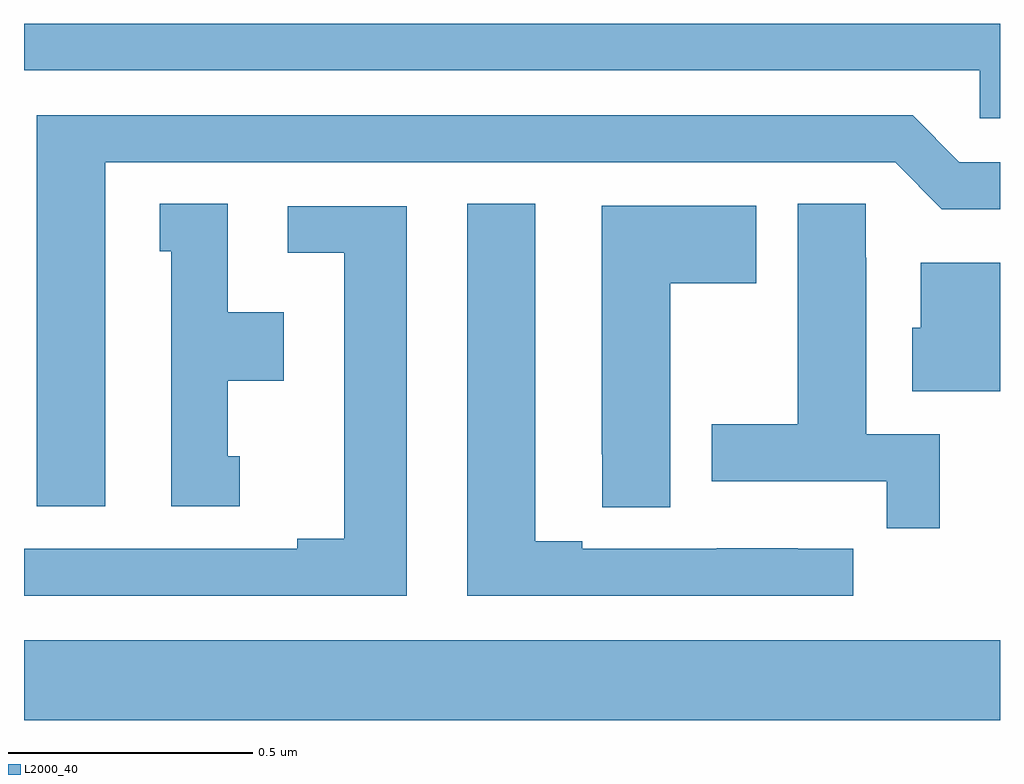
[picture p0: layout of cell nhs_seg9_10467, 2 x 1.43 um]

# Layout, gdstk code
import gdstk
lib = gdstk.Library(unit=1e-6, precision=1e-09)
def R(c, l, rs):  # rectangles x0, y0, x1, y1
    for r in rs: c.add(gdstk.rectangle(r[:2], r[2:], *l))
def P(c, l, *ps):  # polygons
    for p in ps: c.add(gdstk.Polygon(p, *l))
L2000_40 = (2000, 40)

nhs_seg9_10467 = lib.new_cell('nhs_seg9_10467')
R(nhs_seg9_10467, L2000_40, [(243,1211.072,245,1211.236)])
P(nhs_seg9_10467, L2000_40, [(245,1212.5),(243,1212.5),(243,1212.404),(244.959,1212.404),(244.959,1212.306),(245,1212.306)],
  [(243.166,1212.216),(244.785,1212.216),(244.881,1212.12),(245,1212.12),(245,1212.216),(244.917,1212.216),(244.821,1212.312),(243.026,1212.312),(243.026,1211.511),(243.166,1211.511)],
  [(244.699,1211.424),(244.586,1211.424),(244.586,1211.425),(244.42,1211.425),(244.42,1211.424),(244.144,1211.424),(244.144,1211.439),(244.048,1211.439),(244.048,1212.131),(243.908,1212.131),(243.908,1211.328),(244.699,1211.328)],
  [(243.442,1211.613),(243.418,1211.613),(243.418,1211.768),(243.532,1211.768),(243.532,1211.908),(243.418,1211.908),(243.418,1212.131),(243.278,1212.131),(243.278,1212.033),(243.302,1212.033),(243.302,1211.511),(243.442,1211.511)],
  [(244.877,1211.658),(244.726,1211.658),(244.726,1212.02),(244.725,1212.02),(244.725,1212.131),(244.586,1212.131),(244.586,1211.679),(244.409,1211.679),(244.409,1211.562),(244.768,1211.562),(244.768,1211.466),(244.877,1211.466)],
  [(244.324,1211.968),(244.501,1211.968),(244.501,1212.127),(244.184,1212.127),(244.184,1211.617),(244.185,1211.617),(244.185,1211.509),(244.324,1211.509)],
  [(243.784,1212.126),(243.54,1212.126),(243.54,1212.03),(243.656,1212.03),(243.656,1211.444),(243.56,1211.444),(243.56,1211.424),(243,1211.424),(243,1211.328),(243.784,1211.328)],
  [(245,1212.01),(244.838,1212.01),(244.838,1211.877),(244.82,1211.877),(244.82,1211.747),(245,1211.747)])

lib.write_gds('nhs_seg9_10467.gds')
